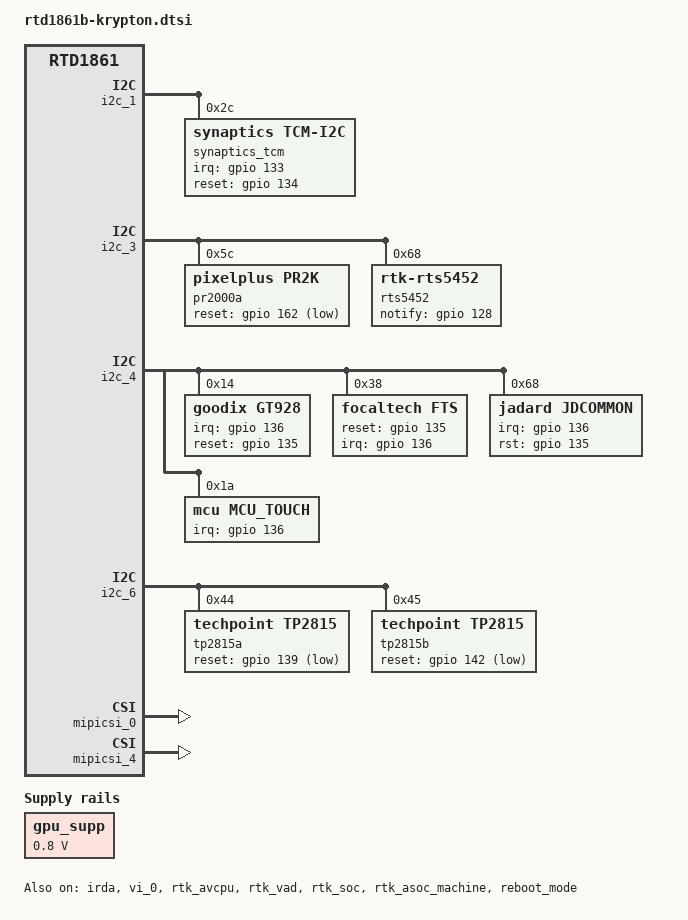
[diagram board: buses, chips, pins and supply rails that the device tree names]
// SPDX-License-Identifier: (GPL-2.0-or-later OR BSD-2-Clause)
/*
 * Realtek RTD1861B Krypton EVB
 *
 * Copyright (c) 2024 Realtek Semiconductor Corp.
 */

/dts-v1/;

#include <dt-bindings/thermal/thermal.h>
#include "rtd1861.dtsi"
#include "rtd1861b-krypton.rds.dtsi"

/ {
	chosen {
		bootargs = "earlycon=uart8250,mmio32,0x98007800 console=ttyS0,460800 8250.nr_uarts=11 8250.share_irqs=1 init=/init loglevel=8 max_loop=64 loop.max_part=7 firmware_class.path=/vendor/firmware/,/vendor/av_fw";
		stdout-path = "serial0:460800n8";
	};
};

&gpu {
	mali-supply = <&gpu_supp>;
	shadercores-supply = <&gpu_supp>;
	operating-points-v2 = <&gpu_opps>;
};


&i2c_1 {
	status = "okay";

	synaptics_tcm@2c{
		compatible = "synaptics,tcm-i2c";
		reg = <0x2c>;

		synaptics,avdd-name = "avdd";
		synaptics,vdd-name = "vdd";
		synaptics,power-delay-ms = <200>;
		synaptics,irq-gpio = <&gpio 133 IRQ_TYPE_EDGE_FALLING>;
		synaptics,irq-on-state = <0>;
		synaptics,reset-gpio = <&gpio 134 0x0>;
		synaptics,reset-on-state = <0>;
		synaptics,reset-active-ms = <20>;
		synaptics,reset-delay-ms = <200>;
	};
};

&i2c_3 {
	status = "okay";

	pr2000a: pr2000@5c {
		compatible = "pixelplus,pr2k";
		reg = <0x5c>;
		reset-gpios = <&gpio 162 GPIO_ACTIVE_LOW>;
		camera-fmt = <0x100>;
		bt-mode = <0>;
		cascade-mode = <0>;
	};

	rts5452@68 {
		compatible = "rtk-rts5452";
		reg = <0x68>;
		notify-gpios = <&gpio 128 GPIO_PULL_UP>;

		orientation-switch = <&usb1_u3phy>;
		mode-switch = <&usb1_u3phy>;
	};
};

&i2c_4 {
	status = "okay";

	goodix@14{
		compatible = "goodix,gt928";
		reg = <0x14>;
		edge-falling-trigger;
		interrupt-parent = <&gpio>;
		interrupts = <136 IRQ_TYPE_EDGE_FALLING>;
		irq-gpios = <&gpio 136 GPIO_ACTIVE_HIGH>;
		reset-gpios = <&gpio 135 GPIO_ACTIVE_HIGH>;
		//touchscreen-size-x = <1024>;
		//touchscreen-size-y = <600>;
		touchscreen-inverted-x;
		status = "okay";
	};

	focaltech@38{
		compatible = "focaltech,fts";
		reg = <0x38>;
		interrupt-parent = <&gpio>;
		interrupts = <136 IRQ_TYPE_EDGE_FALLING>;
		focaltech,reset-gpio = <&gpio 135 GPIO_ACTIVE_HIGH>;
		focaltech,irq-gpio = <&gpio 136 IRQ_TYPE_EDGE_FALLING>;
		focaltech,max-touch-number = <10>;
		focaltech,display-coords =  <0 0 1920 720>;
	};

	jadard@68{
		compatible = "jadard,jdcommon";
		reg = <0x68>;

		jadard,panel-max-points = <10>;
		jadard,int-is-edge = <1>;
		jadard,stylus = <0>;
		jadard,panel-sense-nums = <1 1>;
		jadard,panel-coords = <0 1920 0 1200>;
		jadard,irq-gpio = <&gpio 136 GPIO_ACTIVE_HIGH>;
		jadard,rst-gpio = <&gpio 135 GPIO_ACTIVE_HIGH>;
		status = "okay";
	};

	mcu_touch@1a{
		compatible = "mcu,mcu_touch";
		reg = <0x1a>;

		mcu,irq-gpio = <&gpio 136 IRQ_TYPE_EDGE_FALLING>;
		status = "okay";
	};
};

&i2c_6 {
	status = "okay";

	tp2815a: tp2815@44 {
		compatible = "techpoint,tp2815";
		reg = <0x44>;
		reset-gpios = <&gpio 139 GPIO_ACTIVE_LOW>;
		camera-std = <0x100>;
		detect-mode = <0>;
	};

	tp2815b: tp2815@45 {
		compatible = "techpoint,tp2815";
		reg = <0x45>;
		reset-gpios = <&gpio 142 GPIO_ACTIVE_LOW>;
		camera-std = <0x100>;
		detect-mode = <0>;
	};
};

&irda {
	status = "okay";
};

&mipicsi_0 {
	status = "okay";
};

&mipicsi_4 {
	status = "okay";
};

&sdio {
	wifi-rst-gpios = <&gpio 51 GPIO_ACTIVE_HIGH>;
};

&usb1_u3phy {
	svid = <0xff01>;
};

&vi_0 {
	status = "okay";
};

&rtk_avcpu {
	status = "okay";
};

&{/} {
	gpu_supp: fixed-gpu {
		compatible = "regulator-fixed";
		regulator-name = "gpu";
		regulator-min-microvolt = <800000>;
		regulator-max-microvolt = <800000>;
	};

	gpu_opps: opp-table-gpu {
		compatible = "operating-points-v2", "operating-points-v2-mali";

		opp-405000000 {
			opp-hz = /bits/ 64 <405000000>;
			opp-hz-real = /bits/ 64 <405000000>;
			opp-microvolt = <800000>, <800000>;
			opp-suspend;
		};

		opp-540000000 {
			opp-hz = /bits/ 64 <540000000>;
			opp-hz-real = /bits/ 64 <540000000>;
			opp-microvolt = <800000>, <800000>;
		};

		opp-729000000 {
			opp-hz = /bits/ 64 <729000000>;
			opp-hz-real = /bits/ 64 <729000000>;
			opp-microvolt = <800000>, <800000>;
		};

		opp-810000000 {
			opp-hz = /bits/ 64 <810000000>;
			opp-hz-real = /bits/ 64 <810000000>;
			opp-microvolt = <800000>, <800000>;
		};
	};
};

&{/} {
	clk_scpu: clk-scpu {
		compatible = "realtek,rtd1625-scpu-clk";
		realtek,cc = <&cc>;
		#clock-cells = <0>;
	};

	cpu_opps: opp-table-cpu {
		compatible = "operating-points-v2";
		opp-shared;

		opp1200: opp-1200000000 {
			opp-hz = /bits/ 64 <1200000000>;
			opp-microvolt = <900000>;
			opp-microvolt-fss = <0>;
			clock-latency-ns = <150000>;
			status = "okay";
		};

		opp1600: opp-1600000000 {
			opp-hz = /bits/ 64 <1600000000>;
			opp-microvolt = <1000000>;
			opp-microvolt-fss = <0>;
			clock-latency-ns = <150000>;
			opp-suspend;
			status = "okay";
		};

		opp1800: opp-1800000000 {
			opp-hz = /bits/ 64 <1800000000>;
			opp-microvolt = <1050000>;
			opp-microvolt-fss = <0>;
			clock-latency-ns = <150000>;
			status = "okay";
		};
	};
};

&cpu0 {
	clocks = <&clk_scpu>;
	cpu-supply = <&cpu_supp>;
	operating-points-v2 = <&cpu_opps>;
	#cooling-cells = <2>;
};

&cpu1 {
	clocks = <&clk_scpu>;
	cpu-supply = <&cpu_supp>;
	operating-points-v2 = <&cpu_opps>;
	#cooling-cells = <2>;
};

&cpu2 {
	clocks = <&clk_scpu>;
	cpu-supply = <&cpu_supp>;
	operating-points-v2 = <&cpu_opps>;
	#cooling-cells = <2>;
};

&cpu3 {
	clocks = <&clk_scpu>;
	cpu-supply = <&cpu_supp>;
	operating-points-v2 = <&cpu_opps>;
	#cooling-cells = <2>;
};

&rtk_vad {
	status = "okay";
};

&rtk_soc {
	status = "okay";
	/* On AEC/NR startup, the module begins its adaptation phase, during
	 * which residual echo or background noise artifacts may be present.
	 * To prevent initial residual echo/noise artifacts from being
	 * heard, a two-phase output protection sequence is used:
	 * Mute phase: The processed audio output is fully muted for a short
	 * duration after startup. This suppresses the worst initial
	 * artifacts.
	 * Fade-in phase: After the mute period, the output gain is
	 * gradually increased from 0 to full level over the specified fade
	 * duration. This provides a smooth transition to normal output and
	 * prevents abrupt noise or gain jumps. */
	/* Duration (in ms) of the initial mute period after startup */
	aec_mute_duration = <400>;

	/* Duration (in ms) of the fade-in period following the mute phase */
	aec_fade_duration = <1600>;
};

&rtk_asoc_machine {
	pinctrl-names = "default";
	pinctrl-0 = <&ao_i2s0_pins>,
		    <&ao_i2s0_loc0_pins>,
		    <&pcm_pins>,
		    <&ao_spdif_pins>;
	realtek,audio-platform = <&rtk_soc>;
	realtek,dai-link = "RDAI_DL0_FE", "RDAI_DL1_FE", "RDAI_DL2_FE",
			   "RDAI_UL0_FE", "RDAI_UL1_FE",
			   "RDAI_SOC_AO0", "RDAI_SOC_I2S", "RDAI_SOC_I2S0_LOOPBACK";
	status = "okay";
};

&reboot_mode {
	status = "okay";
};

&pwr_ur_top {
	realtek,always-on;
};

&pwr_iso_main2_1 {
	realtek,always-on;
};

&{/} {
	cpu-dvfs {
		fss-opp-updated = <0>;
		fss-volt-correct = <100000>;
		fss-volt-step = <10000>;
		fss-volt-min = <750000>;
		fss-volt-max = <1100000>;
	};
};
